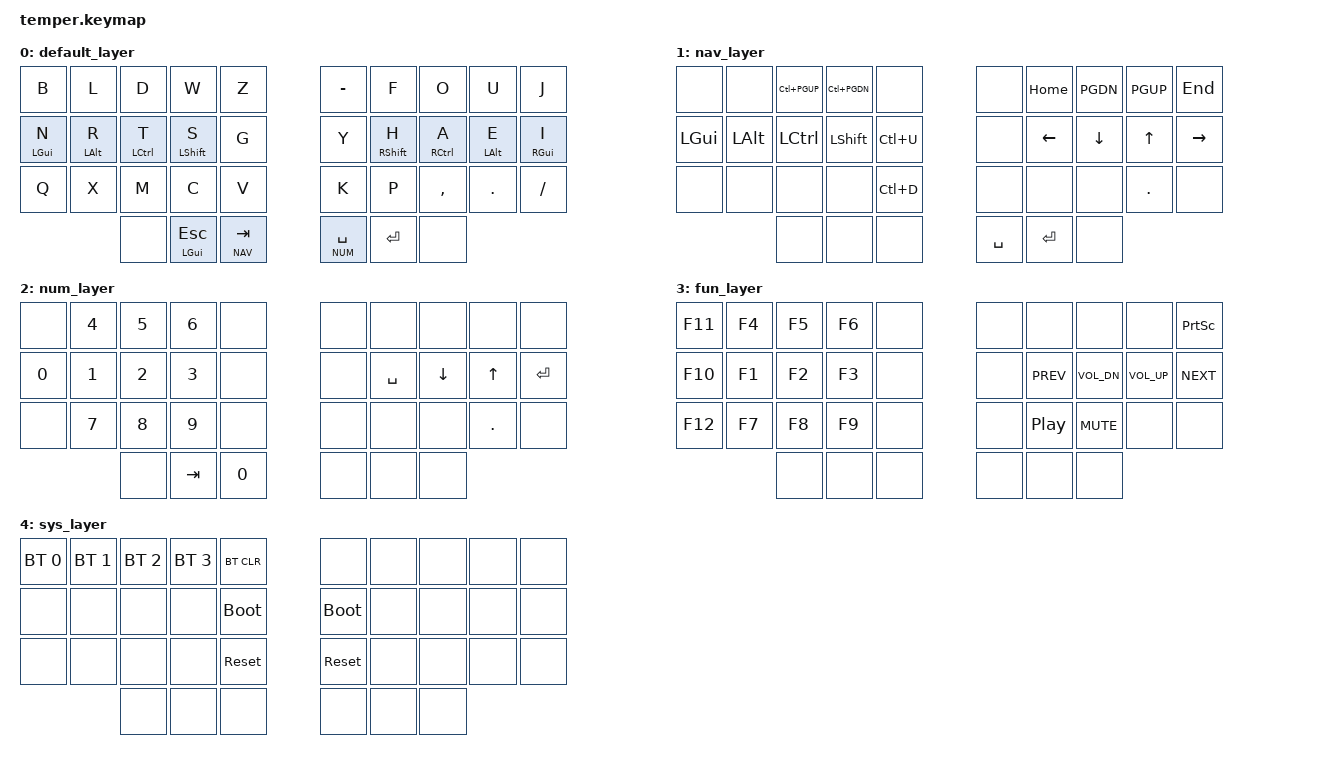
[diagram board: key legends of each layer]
#include "helper.h"
#include "keypos_36.h"
#include <behaviors.dtsi>
#include <dt-bindings/zmk/bt.h>
#include <dt-bindings/zmk/keys.h>

#define DEF 0
#define NAV 1
#define NUM 2
#define FUN 3
#define SYS 4

#define XXX &none
#define ___ &trans

/* Global defaults */
#define QUICK_TAP_MS 150

&lt {
    flavor = "balanced";
    tapping-term-ms = <200>;
    quick-tap-ms = <QUICK_TAP_MS>;
};

&mt {
    flavor = "balanced";
    tapping-term-ms = <200>;
    quick-tap-ms = <QUICK_TAP_MS>;
};

MAKE_HRM(hml, &kp, &kp, KEYS_R THUMBS) // Left-hand HRMs.
MAKE_HRM(hmr, &kp, &kp, KEYS_L THUMBS) // Right-hand HRMs.

#include "combos.dtsi"

/ {
    keymap {
        compatible = "zmk,keymap";
        default_layer {
            bindings = <
        // ╭─────────────┬─────────────┬─────────────┬─────────────┬─────────────╮   ╭─────────────┬─────────────┬─────────────┬─────────────┬─────────────╮
                &kp B         &kp L         &kp D         &kp W         &kp Z           &kp MINUS       &kp F         &kp O         &kp U         &kp J
        // ├─────────────┼─────────────┼─────────────┼─────────────┼─────────────┤   ├─────────────┼─────────────┼─────────────┼─────────────┼─────────────┤
             &hml LGUI N  &hml LALT R   &hml LCTRL T  &hml LSHIFT S     &kp G             &kp Y     &hmr RSHIFT H &hmr RCTRL A   &hmr LALT E   &hmr RGUI I
        // ├─────────────┼─────────────┼─────────────┼─────────────┼─────────────┤   ├─────────────┼─────────────┼─────────────┼─────────────┼─────────────┤
                &kp Q         &kp X         &kp M         &kp C         &kp V             &kp K         &kp P       &kp COMMA      &kp DOT     &kp SLASH
        // ╰─────────────┴─────────────┼─────────────┼─────────────┼─────────────┤   ├─────────────┼─────────────┼─────────────┼─────────────┴─────────────╯
                                             XXX      &mt LGUI ESC   &lt NAV TAB      &lt NUM SPACE    &kp RET         XXX
        //                             ╰─────────────┴─────────────┴─────────────╯   ╰─────────────┴─────────────┴─────────────╯
            >;
        };

        nav_layer {
            bindings = <
        // ╭─────────────┬─────────────┬─────────────┬─────────────┬─────────────╮   ╭─────────────┬─────────────┬─────────────┬─────────────┬─────────────╮
                 XXX           XXX      &kp LC(PGUP)  &kp LC(PGDN)       XXX               XXX        &kp HOME      &kp PGDN      &kp PGUP      &kp END
        // ├─────────────┼─────────────┼─────────────┼─────────────┼─────────────┤   ├─────────────┼─────────────┼─────────────┼─────────────┼─────────────┤
              &kp LGUI      &kp LALT      &kp LCTRL    &kp LSHIFT    &kp LC(U)             XXX        &kp LEFT      &kp DOWN      &kp UP       &kp RIGHT
        // ├─────────────┼─────────────┼─────────────┼─────────────┼─────────────┤   ├─────────────┼─────────────┼─────────────┼─────────────┼─────────────┤
                 XXX           XXX           XXX           XXX       &kp LC(D)             XXX           XXX           XXX        &kp DOT          XXX
        // ╰─────────────┴─────────────┼─────────────┼─────────────┼─────────────┤   ├─────────────┼─────────────┼─────────────┼─────────────┴─────────────╯
                                             XXX           XXX           XXX            &kp SPACE      &kp RET         XXX
        //                             ╰─────────────┴─────────────┴─────────────╯   ╰─────────────┴─────────────┴─────────────╯
            >;
        };

        num_layer {
            bindings = <
        // ╭─────────────┬─────────────┬─────────────┬─────────────┬─────────────╮   ╭─────────────┬─────────────┬─────────────┬─────────────┬─────────────╮
                 XXX         &kp N4        &kp N5        &kp N6          XXX                XXX          XXX           XXX          XXX            XXX
        // ├─────────────┼─────────────┼─────────────┼─────────────┼─────────────┤   ├─────────────┼─────────────┼─────────────┼─────────────┼─────────────┤
               &kp N0        &kp N1        &kp N2        &kp N3          XXX                XXX      &kp SPACE     &kp DOWN       &kp UP        &kp RET
        // ├─────────────┼─────────────┼─────────────┼─────────────┼─────────────┤   ├─────────────┼─────────────┼─────────────┼─────────────┼─────────────┤
                 XXX         &kp N7        &kp N8        &kp N9          XXX                XXX          XXX           XXX       &kp DOT          XXX
        // ╰─────────────┴─────────────┼─────────────┼─────────────┼─────────────┤   ├─────────────┼─────────────┼─────────────┼─────────────┴─────────────╯
                                             XXX         &kp TAB       &kp N0               XXX          XXX           XXX
        //                             ╰─────────────┴─────────────┴─────────────╯   ╰─────────────┴─────────────┴─────────────╯
            >;
        };

        fun_layer {
            bindings = <
        // ╭─────────────┬─────────────┬─────────────┬─────────────┬─────────────╮   ╭─────────────┬─────────────┬─────────────┬─────────────┬─────────────╮
               &kp F11       &kp F4        &kp F5        &kp F6          XXX               XXX           XXX           XXX           XXX       &kp PSCRN
        // ├─────────────┼─────────────┼─────────────┼─────────────┼─────────────┤   ├─────────────┼─────────────┼─────────────┼─────────────┼─────────────┤
               &kp F10       &kp F1        &kp F2        &kp F3          XXX               XXX      &kp C_PREV  &kp C_VOL_DN   &kp C_VOL_UP    &kp C_NEXT
        // ├─────────────┼─────────────┼─────────────┼─────────────┼─────────────┤   ├─────────────┼─────────────┼─────────────┼─────────────┼─────────────┤
               &kp F12       &kp F7        &kp F8        &kp F9          XXX               XXX       &kp C_PP      &kp C_MUTE        XXX          XXX
        // ╰─────────────┴─────────────┼─────────────┼─────────────┼─────────────┤   ├─────────────┼─────────────┼─────────────┼─────────────┴─────────────╯
                                             XXX           XXX           XXX               XXX           XXX           XXX
        //                             ╰─────────────┴─────────────┴─────────────╯   ╰─────────────┴─────────────┴─────────────╯
            >;
        };

        sys_layer {
            bindings = <
        // ╭─────────────┬─────────────┬─────────────┬─────────────┬─────────────╮   ╭─────────────┬─────────────┬─────────────┬─────────────┬─────────────╮
            &bt BT_SEL 0  &bt BT_SEL 1  &bt BT_SEL 2  &bt BT_SEL 3   &bt BT_CLR            XXX           XXX           XXX           XXX           XXX
        // ├─────────────┼─────────────┼─────────────┼─────────────┼─────────────┤   ├─────────────┼─────────────┼─────────────┼─────────────┼─────────────┤
                 XXX           XXX           XXX           XXX       &bootloader       &bootloader       XXX           XXX           XXX           XXX
        // ├─────────────┼─────────────┼─────────────┼─────────────┼─────────────┤   ├─────────────┼─────────────┼─────────────┼─────────────┼─────────────┤
                 XXX           XXX           XXX           XXX       &sys_reset        &sys_reset        XXX           XXX           XXX           XXX
        // ╰─────────────┴─────────────┼─────────────┼─────────────┼─────────────┤   ├─────────────┼─────────────┼─────────────┼─────────────┴─────────────╯
                                             XXX           XXX           XXX               XXX           XXX           XXX
        //                             ╰─────────────┴─────────────┴─────────────╯   ╰─────────────┴─────────────┴─────────────╯
            >;
        };
    };
};

// vim: filetype=c
// vim: syntax=off
